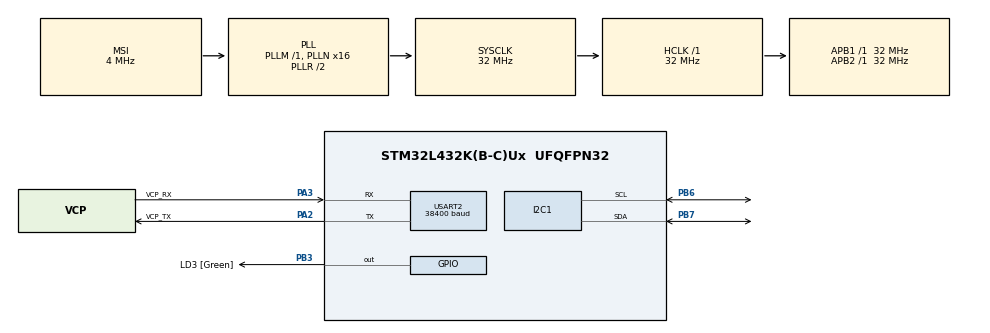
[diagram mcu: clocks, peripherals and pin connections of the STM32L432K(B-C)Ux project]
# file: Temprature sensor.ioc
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I2C1.Timing=0x00B07CB4
Mcu.Family=STM32L4
Mcu.Name=STM32L432K(B-C)Ux
Mcu.Package=UFQFPN32
NVIC.PriorityGroup=NVIC_PRIORITYGROUP_4
PA0.GPIO_Label=MCO [High speed clock in]
PA0.Mode=HSE-External-Clock-Source-for-LittleOrca
PA0.Signal=RCC_CK_IN
PA13\ (JTMS-SWDIO).GPIO_Label=SWDIO
PA13\ (JTMS-SWDIO).Mode=Serial_Wire
PA13\ (JTMS-SWDIO).Signal=SYS_JTMS-SWDIO
PA14\ (JTCK-SWCLK).GPIO_Label=SWCLK
PA14\ (JTCK-SWCLK).Mode=Serial_Wire
PA14\ (JTCK-SWCLK).Signal=SYS_JTCK-SWCLK
PA2.GPIO_Label=VCP_TX
PA2.Mode=Asynchronous
PA2.Signal=USART2_TX
PA3.GPIO_Label=VCP_RX
PA3.Mode=Asynchronous
PA3.Signal=USART2_RX
PB3\ (JTDO-TRACESWO).GPIO_Label=LD3 [Green]
PB3\ (JTDO-TRACESWO).Signal=GPIO_Output
PB6.GPIO_Pu=GPIO_PULLUP
PB6.Mode=I2C
PB6.Signal=I2C1_SCL
PB7.GPIO_Pu=GPIO_PULLUP
PB7.Mode=I2C
PB7.Signal=I2C1_SDA
PC14-OSC32_IN\ (PC14).Mode=LSE-External-Oscillator
PC14-OSC32_IN\ (PC14).Signal=RCC_OSC32_IN
PC15-OSC32_OUT\ (PC15).Mode=LSE-External-Oscillator
PC15-OSC32_OUT\ (PC15).Signal=RCC_OSC32_OUT
ProjectManager.HeapSize=0x200
ProjectManager.StackSize=0x400
ProjectManager.TargetToolchain=STM32CubeIDE
RCC.AHBFreq_Value=32000000
RCC.APB1Freq_Value=32000000
RCC.APB1TimFreq_Value=32000000
RCC.APB2Freq_Value=32000000
RCC.APB2TimFreq_Value=32000000
RCC.CortexFreq_Value=32000000
RCC.HCLKFreq_Value=32000000
RCC.HSE_VALUE=8000000
RCC.HSI16_VALUE=16000000
RCC.HSI48_VALUE=48000000
RCC.HSI_VALUE=16000000
RCC.MSI_VALUE=4000000
RCC.PLLMUL=RCC_PLLMUL_4
RCC.PLLN=16
RCC.SYSCLKFreq_VALUE=32000000
RCC.SYSCLKSource=RCC_SYSCLKSOURCE_PLLCLK
RCC.VCOOutputFreq_Value=64000000
USART2.BaudRate=38400
USART2.VirtualMode-Asynchronous=VM_ASYNC
board=NUCLEO-L432KC

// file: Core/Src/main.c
/* USER CODE BEGIN Header */
/**
  ******************************************************************************
  * @file           : main.c
  * @brief          : Main program body
  ******************************************************************************
  * @attention
  *
  * Copyright (c) 2026 STMicroelectronics.
  * All rights reserved.
  *
  * This software is licensed under terms that can be found in the LICENSE file
  * in the root directory of this software component.
  * If no LICENSE file comes with this software, it is provided AS-IS.
  *
  ******************************************************************************
  */
/* USER CODE END Header */
#include "main.h"

/* USER CODE BEGIN Includes */
#include <stdio.h>
#include <string.h>
#include <stdlib.h>
/* USER CODE END Includes */

I2C_HandleTypeDef hi2c1;

UART_HandleTypeDef huart2;

void SystemClock_Config(void);
static void MX_GPIO_Init(void);
static void MX_USART2_UART_Init(void);
static void MX_I2C1_Init(void);
/* USER CODE BEGIN PFP */
void SHT3x_Read(float *temp);
/* USER CODE END PFP */

int main(void)
{

  /* MCU Configuration--------------------------------------------------------*/

  /* Reset of all peripherals, Initializes the Flash interface and the Systick. */
  HAL_Init();

  /* Configure the system clock */
  SystemClock_Config();

  /* Initialize all configured peripherals */
  MX_GPIO_Init();
  MX_USART2_UART_Init();
  MX_I2C1_Init();
  /* USER CODE BEGIN 2 */
  char tekst[]= "USART werkt\r\n";
  HAL_UART_Transmit(&huart2, (uint8_t*)tekst, strlen(tekst), HAL_MAX_DELAY);

  /* USER CODE END 2 */

  /* Infinite loop */
  /* USER CODE BEGIN WHILE */
  while (1)
  {
	    float t;
	    SHT3x_Read(&t);

	    int geheel = (int)t;
	    int decimaal = (int)((t - geheel) * 100);

	    char buffer[20];
	    sprintf(buffer, "%d.%02d\r\n", geheel, decimaal);

	    HAL_UART_Transmit(&huart2, (uint8_t*)buffer, strlen(buffer), HAL_MAX_DELAY);
	    HAL_Delay(1000);

    /* USER CODE END WHILE */

  }
}

void SystemClock_Config(void)
{
  RCC_OscInitTypeDef RCC_OscInitStruct = {0};
  RCC_ClkInitTypeDef RCC_ClkInitStruct = {0};

  /** Configure the main internal regulator output voltage
  */
  if (HAL_PWREx_ControlVoltageScaling(PWR_REGULATOR_VOLTAGE_SCALE1) != HAL_OK)
  {
    Error_Handler();
  }

  /** Configure LSE Drive Capability
  */
  HAL_PWR_EnableBkUpAccess();
  __HAL_RCC_LSEDRIVE_CONFIG(RCC_LSEDRIVE_LOW);

  /** Initializes the RCC Oscillators according to the specified parameters
  * in the RCC_OscInitTypeDef structure.
  */
  RCC_OscInitStruct.OscillatorType = RCC_OSCILLATORTYPE_LSE|RCC_OSCILLATORTYPE_MSI;
  RCC_OscInitStruct.LSEState = RCC_LSE_ON;
  RCC_OscInitStruct.MSIState = RCC_MSI_ON;
  RCC_OscInitStruct.MSICalibrationValue = 0;
  RCC_OscInitStruct.MSIClockRange = RCC_MSIRANGE_6;
  RCC_OscInitStruct.PLL.PLLState = RCC_PLL_ON;
  RCC_OscInitStruct.PLL.PLLSource = RCC_PLLSOURCE_MSI;
  RCC_OscInitStruct.PLL.PLLM = 1;
  RCC_OscInitStruct.PLL.PLLN = 16;
  RCC_OscInitStruct.PLL.PLLP = RCC_PLLP_DIV7;
  RCC_OscInitStruct.PLL.PLLQ = RCC_PLLQ_DIV2;
  RCC_OscInitStruct.PLL.PLLR = RCC_PLLR_DIV2;
  if (HAL_RCC_OscConfig(&RCC_OscInitStruct) != HAL_OK)
  {
    Error_Handler();
  }

  /** Initializes the CPU, AHB and APB buses clocks
  */
  RCC_ClkInitStruct.ClockType = RCC_CLOCKTYPE_HCLK|RCC_CLOCKTYPE_SYSCLK
                              |RCC_CLOCKTYPE_PCLK1|RCC_CLOCKTYPE_PCLK2;
  RCC_ClkInitStruct.SYSCLKSource = RCC_SYSCLKSOURCE_PLLCLK;
  RCC_ClkInitStruct.AHBCLKDivider = RCC_SYSCLK_DIV1;
  RCC_ClkInitStruct.APB1CLKDivider = RCC_HCLK_DIV1;
  RCC_ClkInitStruct.APB2CLKDivider = RCC_HCLK_DIV1;

  if (HAL_RCC_ClockConfig(&RCC_ClkInitStruct, FLASH_LATENCY_1) != HAL_OK)
  {
    Error_Handler();
  }

  /** Enable MSI Auto calibration
  */
  HAL_RCCEx_EnableMSIPLLMode();
}

static void MX_I2C1_Init(void)
{

  hi2c1.Instance = I2C1;
  hi2c1.Init.Timing = 0x00B07CB4;
  hi2c1.Init.OwnAddress1 = 0;
  hi2c1.Init.AddressingMode = I2C_ADDRESSINGMODE_7BIT;
  hi2c1.Init.DualAddressMode = I2C_DUALADDRESS_DISABLE;
  hi2c1.Init.OwnAddress2 = 0;
  hi2c1.Init.OwnAddress2Masks = I2C_OA2_NOMASK;
  hi2c1.Init.GeneralCallMode = I2C_GENERALCALL_DISABLE;
  hi2c1.Init.NoStretchMode = I2C_NOSTRETCH_DISABLE;
  if (HAL_I2C_Init(&hi2c1) != HAL_OK)
  {
    Error_Handler();
  }

  /** Configure Analogue filter
  */
  if (HAL_I2CEx_ConfigAnalogFilter(&hi2c1, I2C_ANALOGFILTER_ENABLE) != HAL_OK)
  {
    Error_Handler();
  }

  /** Configure Digital filter
  */
  if (HAL_I2CEx_ConfigDigitalFilter(&hi2c1, 0) != HAL_OK)
  {
    Error_Handler();
  }

}

static void MX_USART2_UART_Init(void)
{

  huart2.Instance = USART2;
  huart2.Init.BaudRate = 38400;
  huart2.Init.WordLength = UART_WORDLENGTH_8B;
  huart2.Init.StopBits = UART_STOPBITS_1;
  huart2.Init.Parity = UART_PARITY_NONE;
  huart2.Init.Mode = UART_MODE_TX_RX;
  huart2.Init.HwFlowCtl = UART_HWCONTROL_NONE;
  huart2.Init.OverSampling = UART_OVERSAMPLING_16;
  huart2.Init.OneBitSampling = UART_ONE_BIT_SAMPLE_DISABLE;
  huart2.AdvancedInit.AdvFeatureInit = UART_ADVFEATURE_NO_INIT;
  if (HAL_UART_Init(&huart2) != HAL_OK)
  {
    Error_Handler();
  }

}

static void MX_GPIO_Init(void)
{
  GPIO_InitTypeDef GPIO_InitStruct = {0};

  /* GPIO Ports Clock Enable */
  __HAL_RCC_GPIOC_CLK_ENABLE();
  __HAL_RCC_GPIOA_CLK_ENABLE();
  __HAL_RCC_GPIOB_CLK_ENABLE();

  /*Configure GPIO pin Output Level */
  HAL_GPIO_WritePin(LD3_GPIO_Port, LD3_Pin, GPIO_PIN_RESET);

  /*Configure GPIO pin : LD3_Pin */
  GPIO_InitStruct.Pin = LD3_Pin;
  GPIO_InitStruct.Mode = GPIO_MODE_OUTPUT_PP;
  GPIO_InitStruct.Pull = GPIO_NOPULL;
  GPIO_InitStruct.Speed = GPIO_SPEED_FREQ_LOW;
  HAL_GPIO_Init(LD3_GPIO_Port, &GPIO_InitStruct);

}

/* USER CODE BEGIN 4 */
void SHT3x_Read(float *temp)
{
    uint8_t cmd[2] = {0x24, 0x00};
    uint8_t data[6];

    HAL_I2C_Master_Transmit(&hi2c1, 0x44 << 1, cmd, 2, HAL_MAX_DELAY);
    HAL_Delay(15);
    HAL_I2C_Master_Receive(&hi2c1, 0x44 << 1, data, 6, HAL_MAX_DELAY);

    uint16_t rawTemp = (data[0] << 8) | data[1];
    *temp = -45 + 175 * ((float)rawTemp / 65535.0f);
}

/* USER CODE END 4 */

void Error_Handler(void)
{
  __disable_irq();
  while (1)
  {
  }
}
